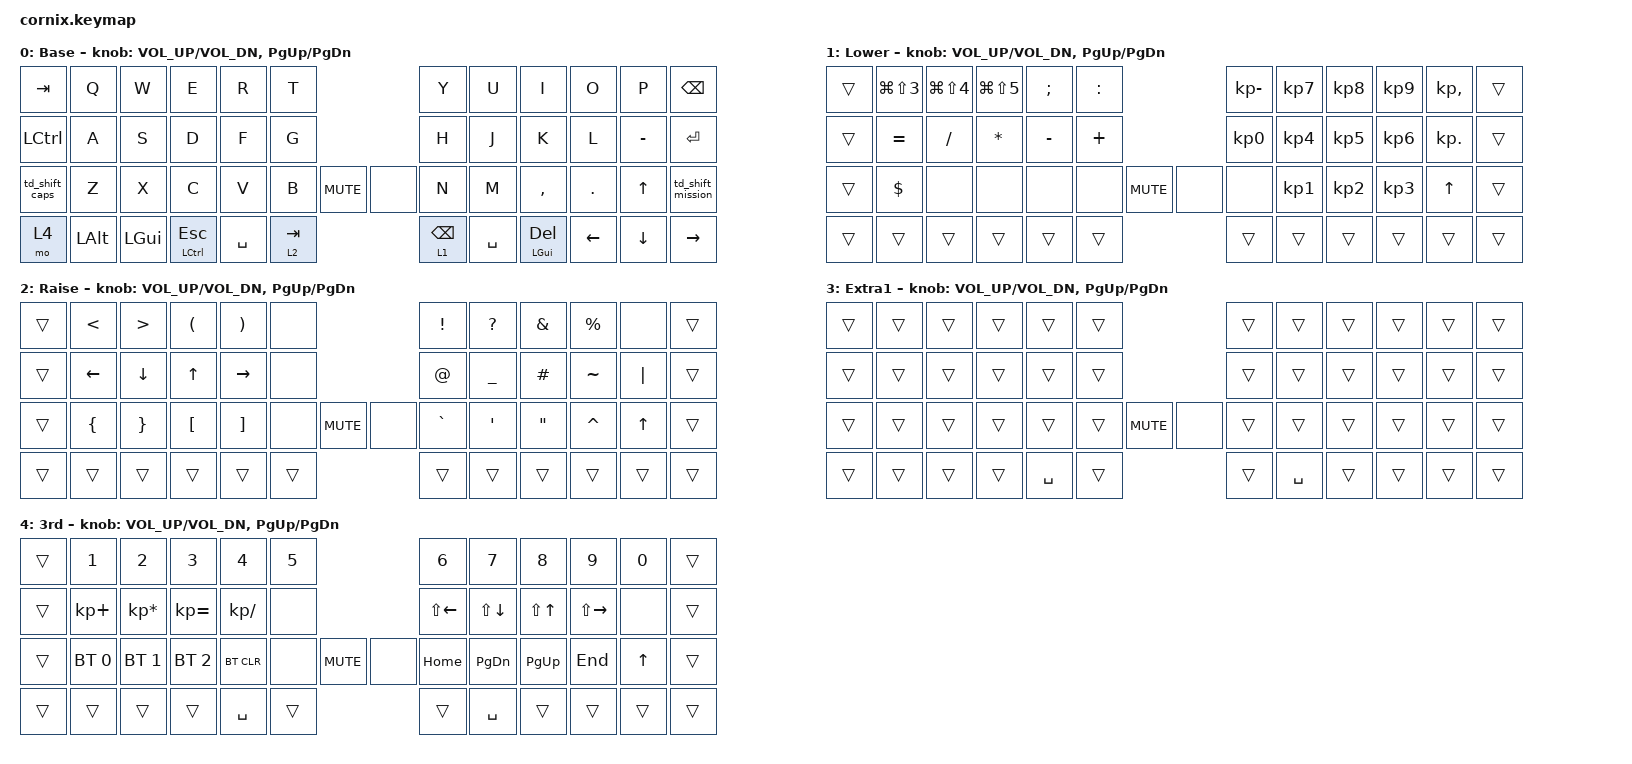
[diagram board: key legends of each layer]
#include <behaviors.dtsi>
#include <dt-bindings/zmk/keys.h>
#include <dt-bindings/zmk/bt.h>

/ {
    behaviors {
        // 1. tap_dance（ShiftとCapsLock、および右端のMission Control用）
        td_shift_caps: tap_dance {
            compatible = "zmk,behavior-tap-dance";
            #binding-cells = <0>;
            tapping-term-ms = <200>;
            bindings = <&kp LSHFT>, <&kp CAPSLOCK>;
        };
        td_shift_mission: tap_dance_mission {
            compatible = "zmk,behavior-tap-dance";
            #binding-cells = <0>;
            tapping-term-ms = <200>;
            bindings = <&kp RSHFT>, <&kp C_AC_DESKTOP_SHOW_ALL_WINDOWS>;
        };

        // 2. 長押し Control / 単押し Escape
        mt_esc_ctrl: mt_esc_ctrl {
            compatible = "zmk,behavior-hold-tap";
            #binding-cells = <2>;
            bindings = <&kp>, <&kp>;
            flavor = "balanced";
            tapping-term-ms = <200>;
            quick-tap-ms = <200>;
        };

        // 3. 長押し Command / 単押し Delete Forward (DEL)
        mt_ret_cmd: mt_ret_cmd {
            compatible = "zmk,behavior-hold-tap";
            #binding-cells = <2>;
            bindings = <&kp>, <&kp>;
            flavor = "balanced";
            tapping-term-ms = <200>;
            quick-tap-ms = <200>;
        };

        // 4. レイヤー切り替え用 hold-tap
        // 長押し: Raise (Layer 2) / 単押し: TAB
        mt_tab_l2: mt_tab_l2 {
            compatible = "zmk,behavior-hold-tap";
            #binding-cells = <2>;
            bindings = <&mo>, <&kp>;
            flavor = "balanced";
            tapping-term-ms = <200>;
            quick-tap-ms = <200>;
        };

        // 長押し: Lower (Layer 1) / 単押し: BackSpace (BSPC)
        mt_del_l1: mt_del_l1 {
            compatible = "zmk,behavior-hold-tap";
            #binding-cells = <2>;
            bindings = <&mo>, <&kp>;
            flavor = "balanced";
            tapping-term-ms = <200>;
            quick-tap-ms = <200>;
        };
    };

    keymap {
        compatible = "zmk,keymap";

        // 0. ベースレイヤー
        default_layer {
            display-name = "Base";
            bindings = <
&kp TAB         &kp Q    &kp W     &kp E             &kp R      &kp T                               &kp Y      &kp U      &kp I          &kp O          &kp P         &kp BSPC
&kp LCTRL       &kp A    &kp S     &kp D             &kp F      &kp G                               &kp H      &kp J      &kp K          &kp L          &kp MINUS     &kp ENTER
&td_shift_caps  &kp Z    &kp X     &kp C             &kp V      &kp B          &kp C_MUTE  &none    &kp N      &kp M      &kp COMMA      &kp DOT        &kp UP        &td_shift_mission
&mo 4           &kp LALT &kp LGUI  &mt_esc_ctrl LCTRL ESC &kp SPACE &mt_tab_l2 2 TAB           &mt_del_l1 1 BSPC &kp SPACE &mt_ret_cmd LGUI DEL &kp LEFT &kp DOWN    &kp RIGHT
            >;
            sensor-bindings = <&inc_dec_kp C_VOL_UP C_VOL_DN &inc_dec_kp PG_UP PG_DN>;
        };

        // 1. Lowerレイヤー（テンキー・記号用 ）
        Lower_layer {
            display-name = "Lower";
            bindings = <
&trans  &kp LG(LS(N3))  &kp LG(LS(N4))  &kp LG(LS(N5))   &kp SEMI            &kp COLON                               &kp KP_MINUS   &kp KP_N7  &kp KP_N8  &kp KP_N9   &kp KP_COMMA &trans
&trans  &kp EQUAL       &kp FSLH        &kp ASTERISK     &kp MINUS           &kp PLUS                                &kp KP_N0      &kp KP_N4  &kp KP_N5  &kp KP_N6   &kp KP_DOT   &trans
&trans  &kp DLLR        &none           &none            &none               &none          &kp C_MUTE  &none        &none          &kp KP_N1  &kp KP_N2  &kp KP_N3   &kp UP       &trans
&trans  &trans          &trans          &trans           &trans              &trans                                  &trans         &trans     &trans     &trans      &trans       &trans
            >;
            sensor-bindings = <&inc_dec_kp C_VOL_UP C_VOL_DN &inc_dec_kp PG_UP PG_DN>;
        };

        // 2. Raiseレイヤー
        Raise_layer {
            display-name = "Raise";
            bindings = <
&trans  &kp LT     &kp GT      &kp LPAR     &kp RPAR     &none                          &kp EXCL    &kp QMARK    &kp AMPS    &kp PRCNT    &none       &trans
&trans  &kp LEFT   &kp DOWN    &kp UP       &kp RIGHT    &none                          &kp AT      &kp UNDER    &kp HASH    &kp TILDE    &kp PIPE    &trans
&trans  &kp LBRC   &kp RBRC    &kp LBKT     &kp RBKT     &none     &kp C_MUTE  &none    &kp GRAVE   &kp SQT      &kp DQT     &kp CARET    &kp UP      &trans
&trans  &trans     &trans      &trans       &trans       &trans                         &trans      &trans       &trans      &trans       &trans      &trans
            >;
            sensor-bindings = <&inc_dec_kp C_VOL_UP C_VOL_DN &inc_dec_kp PG_UP PG_DN>;
        };

        // 3. 予備レイヤー
        naginata_layer {
            display-name = "Extra1";
            bindings = <
&trans  &trans  &trans  &trans  &trans     &trans                  &trans  &trans     &trans  &trans  &trans  &trans
&trans  &trans  &trans  &trans  &trans     &trans                  &trans  &trans     &trans  &trans  &trans  &trans
&trans  &trans  &trans  &trans  &trans     &trans  &kp C_MUTE &none &trans  &trans     &trans  &trans  &trans  &trans
&trans  &trans  &trans  &trans  &kp SPACE  &trans                  &trans  &kp SPACE  &trans  &trans  &trans  &trans
            >;
            sensor-bindings = <&inc_dec_kp C_VOL_UP C_VOL_DN &inc_dec_kp PG_UP PG_DN>;
        };

        // 4. システムレイヤー
        third_layer {
            display-name = "3rd";
            bindings = <
&trans  &kp N1       &kp N2           &kp N3         &kp N4         &kp N5                          &kp N6        &kp N7        &kp N8       &kp N9          &kp N0   &trans
&trans  &kp KP_PLUS  &kp KP_ASTERISK  &kp KP_EQUAL   &kp KP_SLASH   &none                           &kp LS(LEFT)  &kp LS(DOWN)  &kp LS(UP)   &kp LS(RIGHT)   &none    &trans
&trans  &bt BT_SEL 0 &bt BT_SEL 1     &bt BT_SEL 2   &bt BT_CLR     &none   &kp C_MUTE  &none       &kp HOME      &kp PG_DN     &kp PG_UP    &kp END         &kp UP   &trans
&trans  &trans       &trans           &trans         &kp SPACE      &trans                          &trans        &kp SPACE     &trans       &trans          &trans   &trans
            >;
            sensor-bindings = <&inc_dec_kp C_VOL_UP C_VOL_DN &inc_dec_kp PG_UP PG_DN>;
        };

        // 5. 予約レイヤー
        extra2 {
            display-name = "Extra2";
            status = "reserved";
            bindings = <
&trans &trans &trans &trans &trans &trans                  &trans &trans &trans &trans &trans &trans
&trans &trans &trans &trans &trans &trans                  &trans &trans &trans &trans &trans &trans
&trans &trans &trans &trans &trans &trans &trans    &trans &trans &trans &trans &trans &trans &trans
&trans &trans &trans &trans &trans &trans                  &trans &trans &trans &trans &trans &trans
            >;
            sensor-bindings = <&inc_dec_kp C_VOL_UP C_VOL_DN>;
        };
    };
};
